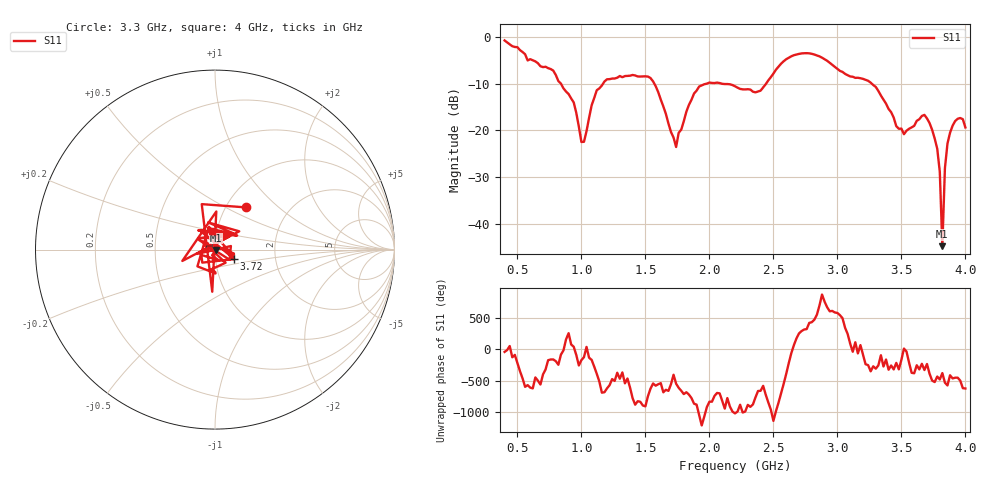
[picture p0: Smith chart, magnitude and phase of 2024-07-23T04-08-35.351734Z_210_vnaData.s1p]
!Created with skrf (http://scikit-rf.org).
# Hz S RI R 50.0
!freq ReS11 ImS11
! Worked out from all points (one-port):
!   181 points, 400 MHz to 4 GHz, reference 50 ohm
!   lowest |S11| = -44.8 dB at 3.82 GHz (marker M1), VSWR 1.01, Z = 50.6 - j0.159 ohm
!   |S11| at or under -10 dB: 1.569 GHz to 1.981 GHz (412.2 MHz wide, 23.2 % of centre); 2.093 GHz to 2.443 GHz (350 MHz wide, 15.4 % of centre); 3.268 GHz to end of sweep (the widest 3 of 4)
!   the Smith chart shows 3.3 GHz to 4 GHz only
!   S11 on the Smith chart (normalised r, x): 3.3 GHz: 1.23, +0.63; 3.72 GHz: 1.23, -0.13; 4 GHz: 0.94, +0.20
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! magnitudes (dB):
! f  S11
! 400 MHz  -0.8
! 780 MHz  -7.2
! 860 MHz  -11.0
! 940 MHz  -14.0
! 1 GHz  -22.5
! 1.02 GHz  -22.5
! 1.12 GHz  -11.4
! 1.3 GHz  -8.4
! 1.54 GHz  -8.8
! 1.74 GHz  -23.6
! 1.76 GHz  -20.5
! 1.92 GHz  -10.6
! 2.2 GHz  -10.6
! 2.4 GHz  -11.5
! 2.66 GHz  -3.9
! 3.1 GHz  -8.5
! 3.3 GHz  -10.7
! 3.46 GHz  -19.1
! 3.56 GHz  -19.7
! 3.68 GHz  -16.7
! 3.72 GHz  -18.5
! 3.78 GHz  -23.9
! 3.8 GHz  -28.9
! 3.82 GHz  -44.8
! 3.84 GHz  -28.1
! 3.86 GHz  -22.8
! 3.94 GHz  -17.5
! 4 GHz  -19.4
